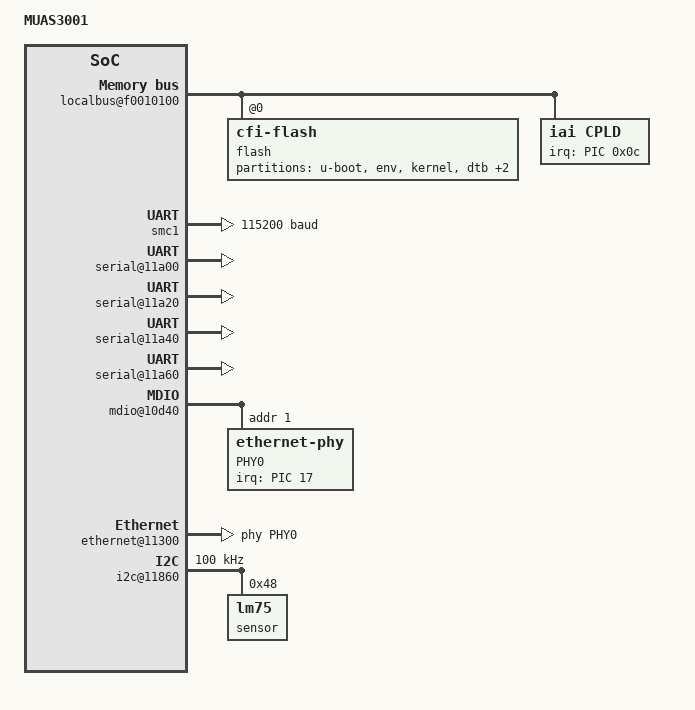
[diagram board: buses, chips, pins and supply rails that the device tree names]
/*
 * muas3001 Device Tree Source
 *
 * Copyright 2008 DENX Software Engineering GmbH
 *                Heiko Schocher <hs@denx.de>
 *
 * This program is free software; you can redistribute  it and/or modify it
 * under  the terms of  the GNU General  Public License as published by the
 * Free Software Foundation;  either version 2 of the  License, or (at your
 * option) any later version.
 */

/dts-v1/;
/ {
	model = "MUAS3001";
	compatible = "iai,muas3001";
	#address-cells = <1>;
	#size-cells = <1>;

	cpus {
		#address-cells = <1>;
		#size-cells = <0>;

		PowerPC,8270@0 {
			device_type = "cpu";
			reg = <0>;
			d-cache-line-size = <32>;
			i-cache-line-size = <32>;
			d-cache-size = <16384>;
			i-cache-size = <16384>;
			bus-frequency = <0>; /* Filled in by U-Boot */
			timebase-frequency = <0>; /* Filled in by U-Boot */
			clock-frequency = <0>; /* Filled in by U-Boot */
		};
	};

	memory {
		device_type = "memory";
		reg = <0 0>; /* Filled in by U-Boot */
	};

	localbus@f0010100 {
		compatible = "fsl,mpc8272-localbus",
		             "fsl,pq2-localbus",
			     "simple-bus";
		#address-cells = <2>;
		#size-cells = <1>;
		reg = <0xf0010100 0x40>;

		ranges = <0 0 0xff000000 0x01000000
		          4 0 0xc0000000 0x00080000>;

		flash@0,0 {
			compatible = "cfi-flash";
			reg = <0 0x0 0x1000000>;
			#address-cells = <1>;
			#size-cells = <1>;
			bank-width = <4>;
			partition@0 {
				label = "u-boot";
				reg = <0 0x40000>;
			};
			partition@0x40000 {
				label = "env";
				reg = <0x40000 0x10000>;
			};
			partition@0x50000 {
				label = "kernel";
				reg = <0x50000 0x1b0000>;
			};
			partition@0x200000 {
				label = "dtb";
				reg = <0x200000 0x10000>;
			};
			partition@0x210000 {
				label = "ramdisk";
				reg = <0x210000 0x1f0000>;
			};
			partition@0x400000 {
				label = "user";
				reg = <0x400000 0xc00000>;
			};
	
		};
		cpld@4,0 {
			compatible = "iai,cpld";
			interrupts = <0x0c 8>;
			interrupt-parent = <&PIC>;
			timeout = <41250>;
		};

	};

	soc@f0000000 {
		#address-cells = <1>;
		#size-cells = <1>;
		device_type = "soc";
		compatible = "fsl,mpc8272", "fsl,pq2-soc", "simple-bus";
		ranges = <0x00000000 0xf0000000 0x00053000>;

		// Temporary -- will go away once kernel uses ranges for get_immrbase().
		reg = <0xf0000000 0x00053000>;

		cpm@119c0 {
			#address-cells = <1>;
			#size-cells = <1>;
			#interrupt-cells = <2>;
			compatible = "fsl,mpc8272-cpm", "fsl,cpm2", "simple-bus";
			reg = <0x119c0 0x30>;
			ranges;

			muram@0 {
				#address-cells = <1>;
				#size-cells = <1>;
				ranges = <0 0 0x10000>;

				data@0 {
					compatible = "fsl,cpm-muram-data";
					reg = <0x0 0x4000 0x8000 0x4000>;
				};
			};

			brg@119f0 {
				compatible = "fsl,mpc8272-brg",
				             "fsl,cpm2-brg",
				             "fsl,cpm-brg";
				reg = <0x119f0 0x10 0x115f0 0x10>;
				clock-frequency = <0>;	/* Filled in by U-Boot */
			};

			smc1: serial@11a80 {
				device_type = "serial";
				compatible = "fsl,mpc8270-smc-uart",
				             "fsl,cpm2-smc-uart";
				model = "SMC";
				reg = <0x11a80 0x20 0x87fc 0x2>;
				interrupts = <0x04 8>;
				interrupt-parent = <&PIC>;
				fsl,cpm-brg = <7>;
				fsl,cpm-command = <0x1d000000>;
				current-speed = <115200>;
			};

			/* SCC1 */
			serial@11a00 {
				device_type = "serial";
				compatible = "fsl,mpc8270-scc-uart",
				             "fsl,cpm2-scc-uart";
				reg = <0x11a00 0x20 0x8000 0x100>;
				interrupts = <0x28 8>;
				interrupt-parent = <&PIC>;
				fsl,cpm-brg = <1>;
				fsl,cpm-command = <0x00800000>;
			};

			/* SCC2 */
			serial@11a20 {
				device_type = "serial";
				compatible = "fsl,mpc8270-scc-uart",
				             "fsl,cpm2-scc-uart";
				reg = <0x11a20 0x20 0x8100 0x100>;
				interrupts = <0x29 8>;
				interrupt-parent = <&PIC>;
				fsl,cpm-brg = <2>;
				fsl,cpm-command = <0x04a00000>;
			};

			/* SCC3 */
			serial@11a40 {
				device_type = "serial";
				compatible = "fsl,mpc8270-scc-uart",
				             "fsl,cpm2-scc-uart";
				reg = <0x11a40 0x20 0x8200 0x100>;
				interrupts = <0x2a 8>;
				interrupt-parent = <&PIC>;
				fsl,cpm-brg = <3>;
				fsl,cpm-command = <0x08c00000>;
			};

			/* SCC4 */
			serial@11a60 {
				device_type = "serial";
				compatible = "fsl,mpc8270-scc-uart",
				             "fsl,cpm2-scc-uart";
				reg = <0x11a60 0x20 0x8300 0x100>;
				interrupts = <0x2b 8>;
				interrupt-parent = <&PIC>;
				fsl,cpm-brg = <4>;
				fsl,cpm-command = <0x0ce00000>;
			};

			mdio@10d40 {
				device_type = "mdio";
				compatible = "fsl,mpc8272ads-mdio-bitbang",
				             "fsl,mpc8270-mdio-bitbang",
				             "fsl,cpm2-mdio-bitbang";
				reg = <0x10d00 0x14>;
				#address-cells = <1>;
				#size-cells = <0>;
				fsl,mdio-pin = <10>;
				fsl,mdc-pin = <9>;

				PHY0: ethernet-phy@1 {
					interrupt-parent = <&PIC>;
					interrupts = <17 8>;
					reg = <1>;
					device_type = "ethernet-phy";
				};

			};

			ethernet@11300 {
				device_type = "network";
				compatible = "fsl,mpc8270-fcc-enet",
				             "fsl,cpm2-fcc-enet";
				reg = <0x11300 0x20 0x8400 0x100 0x11390 0x1>;
				mac-address = [ 00 00 00 00 00 00 ];  /* Filled in by U-Boot */
				interrupts = <0x20 8>;
				interrupt-parent = <&PIC>;
				phy-handle = <&PHY0>;
				linux,network-index = <0>;
				fsl,cpm-command = <0x12000300>;
			};

			i2c@11860 {
				compatible = "fsl,mpc8280-i2c",
						"fsl,cpm2-i2c";
				reg = <0x11860 0x20 0x8afc 0x2>;
				interrupts = <0x1 8>;
				interrupt-parent = <&PIC>;
				fsl,cpm-command = <0x29600000>;
				linux,i2c-class = <1>;
				clock-frequency = <100000>;
				#address-cells = <1>;
				#size-cells = <0>;

				sensor@48 {
					compatible = "linux,lm75";
					reg = <0x48>;
				};
			};

		};

		PIC: interrupt-controller@10c00 {
			#interrupt-cells = <2>;
			interrupt-controller;
			reg = <0x10c00 0x80>;
			compatible = "fsl,mpc8272-pic", "fsl,cpm2-pic";
		};

	};

	chosen {
		linux,stdout-path = "/soc/cpm/serial@11a80";
	};
};
